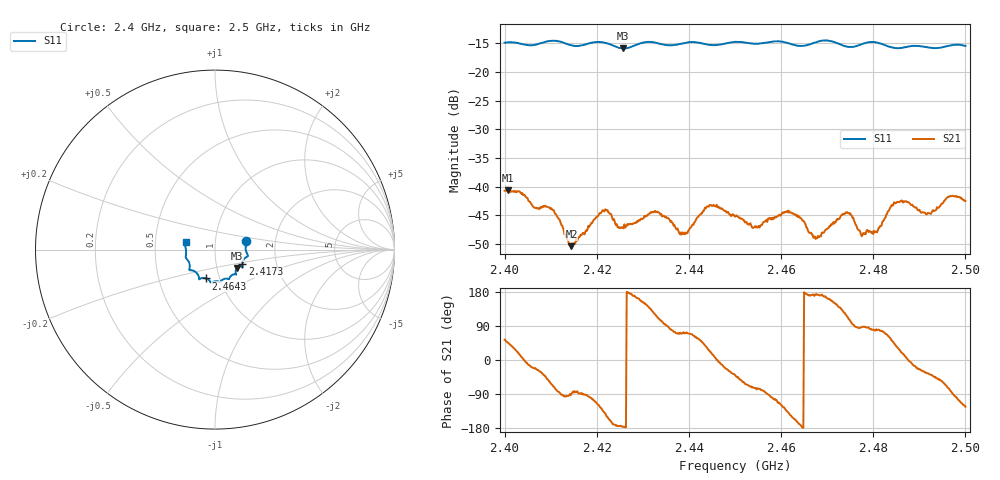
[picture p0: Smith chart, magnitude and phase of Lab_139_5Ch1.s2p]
# Hz S RI R 50
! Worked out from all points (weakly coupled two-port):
!   601 points, 2.4 GHz to 2.5 GHz, reference 50 ohm
!   highest |S21| = -40.63 dB at 2.4007 GHz (marker M1); lowest = -50.4 dB at 2.4145 GHz (marker M2)
!   lowest |S11| = -15.9 dB at 2.4257 GHz (marker M3), VSWR 1.38, Z = 62.5 - j13.2 ohm
!   |S11| at or under -10 dB: start of sweep to end of sweep
!   S12 and S22 are empty: the file has one direction only
!   S11 on the Smith chart (normalised r, x): 2.4 GHz: 1.41, +0.14; 2.4173 GHz: 1.34, -0.23; 2.4643 GHz: 0.86, -0.29; 2.5 GHz: 0.72, +0.06
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2.4e9  0.1733 0.0488  0.00548 0.00741  0 0  0 0
2.400667e9  0.1751 0.0462  0.00641 0.00675  0 0  0 0
2.410167e9  0.1838 -0.0338  0.00285 -0.0058  0 0  0 0
2.4145e9  0.1628 -0.051  6.18e-05 -0.00303  0 0  0 0
2.416667e9  0.1529 -0.0743  5.77e-05 -0.00378  0 0  0 0
2.417333e9  0.1521 -0.0819  -9.88e-05 -0.00383  0 0  0 0
2.421833e9  0.1523 -0.0957  -0.00492 -0.00398  0 0  0 0
2.425667e9  0.1232 -0.1025  -0.00434 -0.000298  0 0  0 0
2.433333e9  0.1128 -0.1373  -0.00203 0.00559  0 0  0 0
2.4385e9  0.0811 -0.157  0.00137 0.00376  0 0  0 0
2.444333e9  0.0609 -0.1614  0.00603 0.00292  0 0  0 0
2.45e9  0.0284 -0.1808  0.0042 -0.0035  0 0  0 0
2.454333e9  0.00745 -0.1762  0.00126 -0.00434  0 0  0 0
2.461167e9  -0.027 -0.1778  -0.00418 -0.00435  0 0  0 0
2.464333e9  -0.0501 -0.1609  -0.00526 -0.000611  0 0  0 0
2.466667e9  -0.0763 -0.1593  -0.00378 0.000569  0 0  0 0
2.4745e9  -0.1017 -0.1308  -0.00223 0.00545  0 0  0 0
2.4775e9  -0.131 -0.1153  0.000215 0.00369  0 0  0 0
2.4805e9  -0.1432 -0.1114  0.000857 0.00397  0 0  0 0
2.483333e9  -0.1406 -0.0898  0.00285 0.00544  0 0  0 0
2.492e9  -0.1613 -0.0256  0.00477 -0.00345  0 0  0 0
2.5e9  -0.1633 0.0426  -0.0041 -0.00626  0 0  0 0
